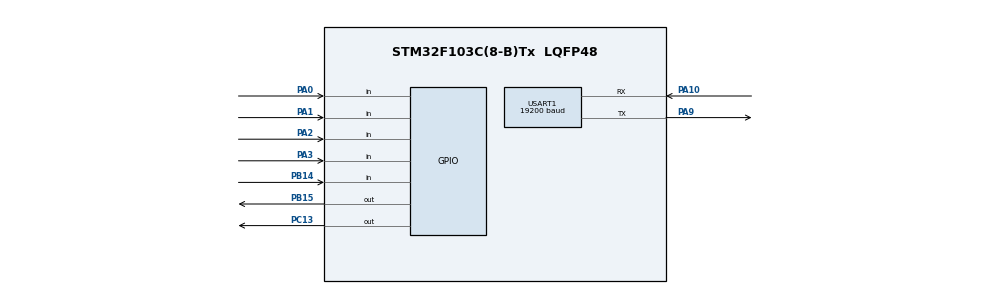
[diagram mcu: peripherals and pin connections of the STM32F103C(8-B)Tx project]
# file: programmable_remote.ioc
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Mcu.Family=STM32F1
Mcu.Name=STM32F103C(8-B)Tx
Mcu.Package=LQFP48
NVIC.PriorityGroup=NVIC_PRIORITYGROUP_4
NVIC.USART1_IRQn=true\:0\:0\:false\:false\:true\:true\:true
PA0-WKUP.GPIO_PuPd=GPIO_PULLUP
PA0-WKUP.Signal=GPIO_Input
PA1.GPIO_PuPd=GPIO_PULLUP
PA1.Signal=GPIO_Input
PA10.Mode=Asynchronous
PA10.Signal=USART1_RX
PA2.GPIO_PuPd=GPIO_PULLUP
PA2.Signal=GPIO_Input
PA3.GPIO_PuPd=GPIO_PULLUP
PA3.Signal=GPIO_Input
PA9.Mode=Asynchronous
PA9.Signal=USART1_TX
PB14.Signal=GPIO_Input
PB15.Signal=GPIO_Output
PC13-TAMPER-RTC.Signal=GPIO_Output
ProjectManager.HeapSize=0x200
ProjectManager.StackSize=0x400
ProjectManager.TargetToolchain=STM32CubeIDE
RCC.APB1Freq_Value=8000000
RCC.APB2Freq_Value=8000000
USART1.BaudRate=19200
USART1.StopBits=STOPBITS_2
USART1.VirtualMode=VM_ASYNC
VP_SYS_VS_ND.Mode=No_Debug
board=custom

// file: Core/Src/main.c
/* USER CODE BEGIN Header */
/**
 * BC7215 Example Application :
 *  Programmable 4-key remote controller
 *
 * Target platform: STM32F103C8
 *
 * Description:
 *   This application demostrates how to us BC7215 and its library to
 *   implement 4-key IR remote controller which can independently 'learn'
 *   4 different codes.
 *
 * Author: Bitcode
 * Date: 2024-03
 *
 * Version: 1.0
 *
 * Notes:
 *
 */
/* USER CODE END Header */
#include "main.h"

/* USER CODE BEGIN Includes */
#include "bc7215_lib.h"

/* USER CODE END Includes */

/* USER CODE BEGIN PD */
#define LED_PIN_PORT GPIOC
#define LED_PIN_NUM  GPIO_PIN_13
#define S1_PIN_PORT   GPIOA
#define S1_PIN_NUM    GPIO_PIN_0
#define S2_PIN_PORT   GPIOA
#define S2_PIN_NUM    GPIO_PIN_1
#define S3_PIN_PORT   GPIOA
#define S3_PIN_NUM    GPIO_PIN_2
#define S4_PIN_PORT   GPIOA
#define S4_PIN_NUM    GPIO_PIN_3
#define MOD_PIN_PORT  GPIOB
#define MOD_PIN_NUM   GPIO_PIN_15
#define BUSY_PIN_PORT GPIOB
#define BUSY_PIN_NUM  GPIO_PIN_14
/* USER CODE END PD */

UART_HandleTypeDef huart1;

/* USER CODE BEGIN PV */
bc7215DataMaxPkt_t IRData[4];        // For simplicity, we use 4 max sized array to save data
                                     // instead of variable length
bc7215FormatPkt_t IRFormat[4];
uint8_t           RxByte;
uint8_t           WorkingMode;
uint8_t           KeyValue;
uint8_t           Counter;

/* USER CODE END PV */

void        SystemClock_Config(void);
static void MX_GPIO_Init(void);
static void MX_USART1_UART_Init(void);
/* USER CODE BEGIN PFP */
void    set_MOD_high(void);                    // function to set MOD pin high
void    set_MOD_low(void);                     // function to set MOD pin low
uint8_t read_MOD(void);                        // function to read MOD pin
uint8_t read_BUSY(void);                       // function to read BUSY pin
void    UART_INT_en(void);                     // function to enable UART RX interrupt
void    UART_INT_dis(void);                    // function to disable UART RX interrupt
void    UART_send_1_byte(uint8_t data);        // function to send 1 byte

void NVIC_Config(void);        // Config NVIC

uint8_t Read_Keypad(void);
void    Led_On(void);
void    Led_Off(void);

/* USER CODE END PFP */

int main(void)
{

    /* MCU Configuration--------------------------------------------------------*/

    /* Reset of all peripherals, Initializes the Flash interface and the Systick. */
    HAL_Init();

    /* Configure the system clock */
    SystemClock_Config();

    /* Initialize all configured peripherals */
    MX_GPIO_Init();
    MX_USART1_UART_Init();
    /* USER CODE BEGIN 2 */
    bc7215_config_uart_int_en_funct(UART_INT_en);
    bc7215_config_uart_int_dis_funct(UART_INT_dis);
    bc7215_config_uart_send_byte(UART_send_1_byte);
    bc7215_config_mod_set_high_funct(set_MOD_high);
    bc7215_config_mod_set_low_funct(set_MOD_low);
    bc7215_config_read_mod_funct(read_MOD);
    bc7215_config_read_busy_funct(read_BUSY);

    NVIC_Config();
    HAL_UART_Receive_IT(&huart1, &RxByte, 1);
    bc7215_set_tx();
    HAL_Delay(2);
    Led_Off();

    /* USER CODE END 2 */

    /* Infinite loop */
    /* USER CODE BEGIN WHILE */
    while (1)
    {
        KeyValue = Read_Keypad();
        switch (WorkingMode)
        {
        case 0:        // WorkingMode 0 is IR transmitting mode
            switch (KeyValue)
            {
            case 0x01:        // button 1 pressed
                Led_On();
                bc7215_load_format(&IRFormat[0]);
                bc7215_IR_tx((bc7215DataVarPkt_t*)&IRData[0]);
                Led_Off();
                break;
            case 0x02:        // button 2 pressed
                Led_On();
                bc7215_load_format(&IRFormat[1]);
                bc7215_IR_tx((bc7215DataVarPkt_t*)&IRData[1]);
                Led_Off();
                break;
            case 0x04:        // button 3 pressed
                Led_On();
                bc7215_load_format(&IRFormat[2]);
                bc7215_IR_tx((bc7215DataVarPkt_t*)&IRData[2]);
                Led_Off();
                break;
            case 0x08:        // button 4 pressed
                Led_On();
                bc7215_load_format(&IRFormat[3]);
                bc7215_IR_tx((bc7215DataVarPkt_t*)&IRData[3]);
                Led_Off();
                break;
            case 0x03:                  // button 1 & button 2 pressed
                bc7215_set_rx();        // set BC7215 TO receiving mode
                HAL_Delay(20);
                bc7215_set_rx_mode(1);        // set BC7215 to complex mode
                WorkingMode = 5;
                break;
            default:
                if ((Counter & 0x0f) == 0)        // every 1600ms
                {
                    Led_On();
                }
                else
                {
                    Led_Off();
                }
                break;
            }
            break;
        case 1:        // WorkingMode 1 is BUTTON1 learning mode
            if (bc7215_format_ready())
            {
                bc7215_get_format(&IRFormat[0]);

                // if data packet is available and size is smaller than the max size
                if (bc7215_data_ready() && (bc7215_get_len() <= sizeof(IRData[0]) * 8))
                {
                    bc7215_get_data((bc7215DataVarPkt_t*)&IRData[0]);
                    Led_Off();
                    bc7215_set_tx();        // switch BC7215 back to transmitting mode
                    HAL_Delay(2);
                    WorkingMode = 0;        // program change back to normal mode
                }
            }
            break;
        case 2:        // WorkingMode 2 is BUTTON2 learning mode
            if (bc7215_format_ready())
            {
                bc7215_get_format(&IRFormat[1]);

                // if data packet is available and size is smaller than the max size
                if (bc7215_data_ready() && (bc7215_get_len() <= sizeof(IRData[1]) * 8))
                {
                    bc7215_get_data((bc7215DataVarPkt_t*)&IRData[1]);
                    Led_Off();
                    bc7215_set_tx();        // switch BC7215 back to transmitting mode
                    HAL_Delay(2);
                    WorkingMode = 0;        // program change back to normal mode
                }
            }
            break;
        case 3:        // WorkingMode 3 is BUTTON3 learning mode
            if (bc7215_format_ready())
            {
                bc7215_get_format(&IRFormat[2]);

                // if data packet is available and size is smaller than the max size
                if (bc7215_data_ready() && (bc7215_get_len() <= sizeof(IRData[2]) * 8))
                {
                    bc7215_get_data((bc7215DataVarPkt_t*)&IRData[2]);
                    Led_Off();
                    bc7215_set_tx();        // switch BC7215 back to transmitting mode
                    HAL_Delay(2);
                    WorkingMode = 0;        // program change back to normal mode
                }
            }
            break;
        case 4:        // WorkingMode 4 is BUTTON4 learning mode
            if (bc7215_format_ready())
            {
                bc7215_get_format(&IRFormat[3]);

                // if data packet is available and size is smaller than the max size
                if (bc7215_data_ready() && (bc7215_get_len() <= sizeof(IRData[3]) * 8))
                {
                    bc7215_get_data((bc7215DataVarPkt_t*)&IRData[3]);
                    Led_Off();
                    bc7215_set_tx();        // switch BC7215 back to transmitting mode
                    HAL_Delay(2);
                    WorkingMode = 0;        // program change back to normal mode
                }
            }
            break;
        case 5:        //  WorkingMode 5 is entering learning mode
            switch (KeyValue)
            {
            case 0x01:        // button 1 pressed
                Led_On();
                WorkingMode = 1;
                break;
            case 0x02:        // button 2 pressed
                Led_On();
                WorkingMode = 2;
                break;
            case 0x04:        // button 3 pressed
                Led_On();
                WorkingMode = 3;
                break;
            case 0x08:        // button 4 pressed
                Led_On();
                WorkingMode = 4;
                break;
            default:
                if (Counter & 0x02)        // every 200ms
                {
                    Led_On();
                }
                else
                {
                    Led_Off();
                }
                break;
            }
        default:
            break;
        }
        Counter++;
        HAL_Delay(100);
    }
}

void SystemClock_Config(void)
{
    RCC_OscInitTypeDef RCC_OscInitStruct = { 0 };
    RCC_ClkInitTypeDef RCC_ClkInitStruct = { 0 };

    /** Initializes the RCC Oscillators according to the specified parameters
     * in the RCC_OscInitTypeDef structure.
     */
    RCC_OscInitStruct.OscillatorType = RCC_OSCILLATORTYPE_HSI;
    RCC_OscInitStruct.HSIState = RCC_HSI_ON;
    RCC_OscInitStruct.HSICalibrationValue = RCC_HSICALIBRATION_DEFAULT;
    RCC_OscInitStruct.PLL.PLLState = RCC_PLL_NONE;
    if (HAL_RCC_OscConfig(&RCC_OscInitStruct) != HAL_OK)
    {
        Error_Handler();
    }
    /** Initializes the CPU, AHB and APB buses clocks
     */
    RCC_ClkInitStruct.ClockType = RCC_CLOCKTYPE_HCLK | RCC_CLOCKTYPE_SYSCLK | RCC_CLOCKTYPE_PCLK1 | RCC_CLOCKTYPE_PCLK2;
    RCC_ClkInitStruct.SYSCLKSource = RCC_SYSCLKSOURCE_HSI;
    RCC_ClkInitStruct.AHBCLKDivider = RCC_SYSCLK_DIV1;
    RCC_ClkInitStruct.APB1CLKDivider = RCC_HCLK_DIV1;
    RCC_ClkInitStruct.APB2CLKDivider = RCC_HCLK_DIV1;

    if (HAL_RCC_ClockConfig(&RCC_ClkInitStruct, FLASH_LATENCY_0) != HAL_OK)
    {
        Error_Handler();
    }
}

static void MX_USART1_UART_Init(void)
{

    huart1.Instance = USART1;
    huart1.Init.BaudRate = 19200;
    huart1.Init.WordLength = UART_WORDLENGTH_8B;
    huart1.Init.StopBits = UART_STOPBITS_2;
    huart1.Init.Parity = UART_PARITY_NONE;
    huart1.Init.Mode = UART_MODE_TX_RX;
    huart1.Init.HwFlowCtl = UART_HWCONTROL_NONE;
    huart1.Init.OverSampling = UART_OVERSAMPLING_16;
    if (HAL_UART_Init(&huart1) != HAL_OK)
    {
        Error_Handler();
    }
}

static void MX_GPIO_Init(void)
{
    GPIO_InitTypeDef GPIO_InitStruct = { 0 };

    /* GPIO Ports Clock Enable */
    __HAL_RCC_GPIOC_CLK_ENABLE();
    __HAL_RCC_GPIOA_CLK_ENABLE();
    __HAL_RCC_GPIOB_CLK_ENABLE();

    /*Configure GPIO pin Output Level */
    HAL_GPIO_WritePin(GPIOC, GPIO_PIN_13, GPIO_PIN_RESET);

    /*Configure GPIO pin Output Level */
    HAL_GPIO_WritePin(GPIOB, GPIO_PIN_15, GPIO_PIN_RESET);

    /*Configure GPIO pin : PC13 */
    GPIO_InitStruct.Pin = GPIO_PIN_13;
    GPIO_InitStruct.Mode = GPIO_MODE_OUTPUT_PP;
    GPIO_InitStruct.Pull = GPIO_NOPULL;
    GPIO_InitStruct.Speed = GPIO_SPEED_FREQ_LOW;
    HAL_GPIO_Init(GPIOC, &GPIO_InitStruct);

    /*Configure GPIO pins : PA0 PA1 PA2 PA3 */
    GPIO_InitStruct.Pin = GPIO_PIN_0 | GPIO_PIN_1 | GPIO_PIN_2 | GPIO_PIN_3;
    GPIO_InitStruct.Mode = GPIO_MODE_INPUT;
    GPIO_InitStruct.Pull = GPIO_PULLUP;
    HAL_GPIO_Init(GPIOA, &GPIO_InitStruct);

    /*Configure GPIO pin : PB14 */
    GPIO_InitStruct.Pin = GPIO_PIN_14;
    GPIO_InitStruct.Mode = GPIO_MODE_INPUT;
    GPIO_InitStruct.Pull = GPIO_NOPULL;
    HAL_GPIO_Init(GPIOB, &GPIO_InitStruct);

    /*Configure GPIO pin : PB15 */
    GPIO_InitStruct.Pin = GPIO_PIN_15;
    GPIO_InitStruct.Mode = GPIO_MODE_OUTPUT_PP;
    GPIO_InitStruct.Pull = GPIO_NOPULL;
    GPIO_InitStruct.Speed = GPIO_SPEED_FREQ_LOW;
    HAL_GPIO_Init(GPIOB, &GPIO_InitStruct);
}

/* USER CODE BEGIN 4 */
void set_MOD_high(void)        // function to set MOD pin high
{
    HAL_GPIO_WritePin(MOD_PIN_PORT, MOD_PIN_NUM, GPIO_PIN_SET);        // MOD pin is connected to PA12
}

void set_MOD_low(void)        // function to set MOD pin low
{
    HAL_GPIO_WritePin(MOD_PIN_PORT, MOD_PIN_NUM, GPIO_PIN_RESET);        // MOD pin is connected to PA12
}

uint8_t read_MOD(void)        // function to read MOD pin
{
    return HAL_GPIO_ReadPin(MOD_PIN_PORT, MOD_PIN_NUM);        // return status of PA12
}

uint8_t read_BUSY(void)        // function to read BUSY pin
{
    return HAL_GPIO_ReadPin(BUSY_PIN_PORT, BUSY_PIN_NUM);        // MOD pin is connected to PA11
}

void UART_INT_en(void)        // function to enable UART RX interrupt
{
    HAL_NVIC_EnableIRQ(USART1_IRQn);
}

void UART_INT_dis(void)        // function to disable UART RX interrupt
{
    HAL_NVIC_DisableIRQ(USART1_IRQn);
}

void UART_send_1_byte(uint8_t data)        // function to send 1 byte
{
    HAL_UART_Transmit(&huart1, &data, 1, HAL_MAX_DELAY);
}

void NVIC_Config(void)        // Config NVIC
{
    HAL_NVIC_SetPriority(USART1_IRQn, 0, 1);        // Set priority
    HAL_NVIC_EnableIRQ(USART1_IRQn);                // Enable interrupt
}

uint8_t Read_Keypad(void)
{
    uint8_t ButtonMap;
    ButtonMap = GPIOA->IDR & 0x0F;
    if (ButtonMap == 0x0F)        // if no button is pressed
    {
        return 0;
    }
    else
    {
        while ((GPIOA->IDR & 0x000F) != 0x000F)        // if buttons are not released
        {
            if ((GPIOA->IDR & 0x000F) == 0x000C)
            {
                ButtonMap = 0x0C;
            }
        }
        return ButtonMap ^ 0x0f;
    }
}

void Led_On(void)
{
    HAL_GPIO_WritePin(LED_PIN_PORT, LED_PIN_NUM, GPIO_PIN_RESET);        // LED on
}

void Led_Off(void)
{
    HAL_GPIO_WritePin(LED_PIN_PORT, LED_PIN_NUM, GPIO_PIN_SET);        // LED off
}

void HAL_UART_RxCpltCallback(UART_HandleTypeDef* huart)        // RXNE interrupt callback
{
    if (huart->Instance == USART1)
    {
        bc7215_process_uart_data(RxByte);
        HAL_UART_Receive_IT(huart, &RxByte, 1);
    }
}
/* USER CODE END 4 */

void Error_Handler(void)
{
    __disable_irq();
    while (1)
    {
    }
}
